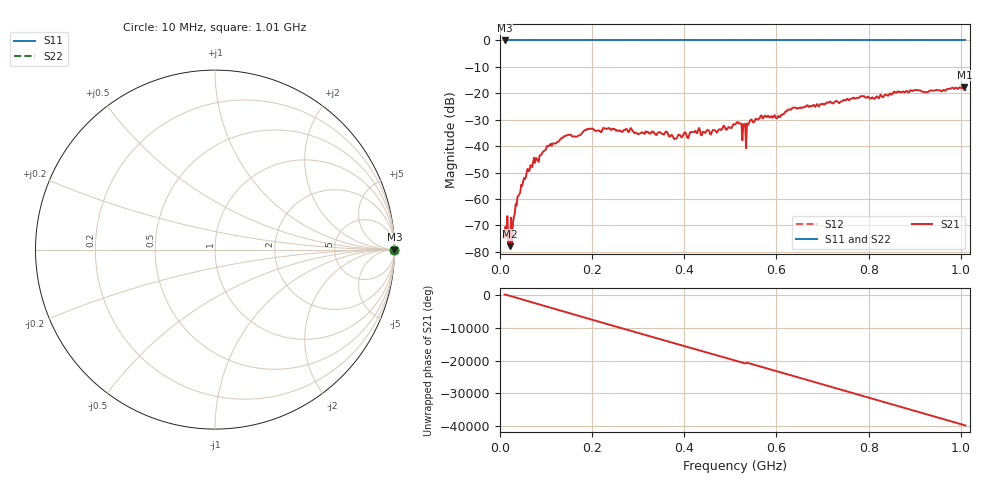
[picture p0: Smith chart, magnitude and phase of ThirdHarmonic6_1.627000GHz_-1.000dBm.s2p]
! 8/16/2025 7:26:41 PM
! C:\ANRITSUVNA\TEMP\TEMP.S2P
! CHANNEL.1
! TR.MEASUREMENT
! RAW.DATA
! RF.CORRECTION.OFF
! AVERAGING.OFF
! IF.BANDWIDTH: 5KHZ
! SWEEPTYPE:  FREQ.SWEEP(Linear)
! Reference Plane Port Info
! PORT:  PORT1  PORT2
! DISTANCE:  0  m  0  m
! TIME:  0  s  0  s
! PHASE.OFFSET:  0  deg.  0  deg.
! LOSS:  0  dB  0  dB
! REF.LOSS:  0  dB  0  dB
! REF.FREQ:  0  Hz  0  Hz
! Power Info
! POWER:  -20  dBm  -20  dBm
! EFF.POWER:  -20  dBm  -20  dBm
! SOURCE.ATTEN:  0  dB  0  dB
! TEST.ATTEN:  0  dB  0  dB
# GHZ S RI R 50.0
! FREQ.GHZ  S11RE  S11IM  S21RE  S21IM  S12RE  S12IM  S22RE  S22IM
!; PortSelection: Port_12
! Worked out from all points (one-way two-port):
!   501 points, 10 MHz to 1.01 GHz, reference 50 ohm
!   highest |S21| = -17.60 dB at 1.008 GHz (marker M1); lowest = -77.9 dB at 22 MHz (marker M2)
!   lowest |S11| = 0.0 dB at 10 MHz (marker M3)
!   |S11| at or under -10 dB: nowhere
!   |S22| runs from 0.0 to 0.0 dB; largest |S21 - S12| = 1.1
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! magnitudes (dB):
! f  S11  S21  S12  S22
! 10 MHz  0.0  -74.6  0.0  0.0
! 12 MHz  0.0  -70.5  0.0  0.0
! 18 MHz  0.0  -76.7  0.0  0.0
! 20 MHz  0.0  -75.4  0.0  0.0
! 22 MHz  0.0  -77.9  0.0  0.0
! 34 MHz  0.0  -61.9  0.0  0.0
! 42 MHz  0.0  -58.3  0.0  0.0
! 70 MHz  0.0  -48.0  0.0  0.0
! 106 MHz  0.0  -39.9  0.0  0.0
! 142 MHz  0.0  -36.2  0.0  0.0
! 178 MHz  0.0  -35.0  0.0  0.0
! 228 MHz  0.0  -33.4  0.0  0.0
! 344 MHz  0.0  -34.9  0.0  0.0
! 380 MHz  0.0  -37.2  0.0  0.0
! 510 MHz  0.0  -31.8  0.0  0.0
! 520 MHz  0.0  -31.4  0.0  0.0
! 530 MHz  0.0  -31.7  0.0  0.0
! 544 MHz  0.0  -30.1  0.0  0.0
! 678 MHz  0.0  -24.8  0.0  0.0
! 844 MHz  0.0  -20.7  0.0  0.0
! 1.008 GHz  0.0  -17.6  0.0  0.0
! 1.01 GHz  0.0  -18.8  0.0  0.0
